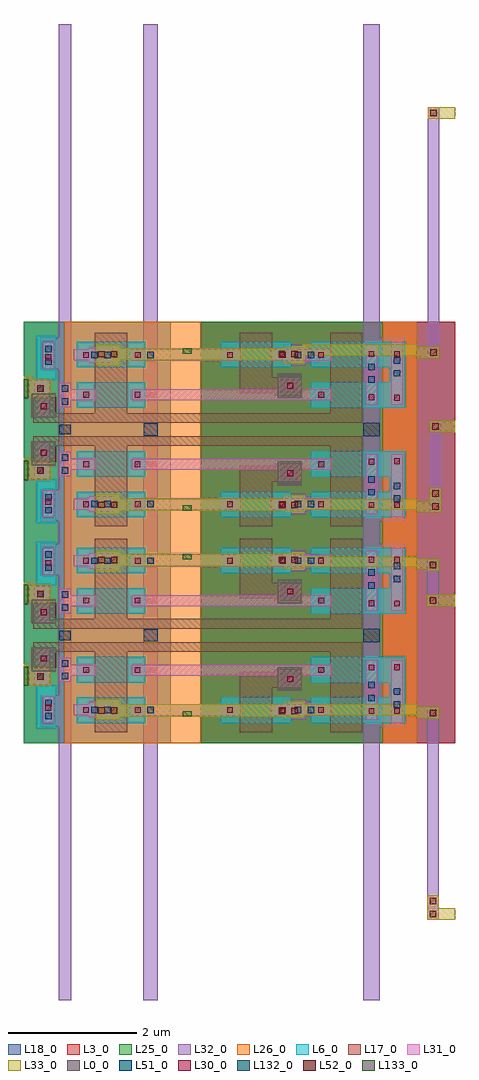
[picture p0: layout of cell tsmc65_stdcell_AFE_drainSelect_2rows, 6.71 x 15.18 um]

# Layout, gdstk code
from math import pi, radians
import gdstk
lib = gdstk.Library(unit=1e-6, precision=1e-09)
def R(c, l, rs):  # rectangles x0, y0, x1, y1
    for r in rs: c.add(gdstk.rectangle(r[:2], r[2:], *l))
L0_0 = (0, 0)
L3_0 = (3, 0)
L6_0 = (6, 0)
L17_0 = (17, 0)
L18_0 = (18, 0)
L25_0 = (25, 0)
L26_0 = (26, 0)
L30_0 = (30, 0)
L31_0 = (31, 0)
L32_0 = (32, 0)
L33_0 = (33, 0)
L51_0 = (51, 0)
L52_0 = (52, 0)
L132_0 = (132, 0)
L133_0 = (133, 0)

m1_od_cdns_668227563182 = lib.new_cell('M1_OD_CDNS_668227563182')
R(m1_od_cdns_668227563182, L6_0, [(-0.075,-0.075,0.075,0.075)])
R(m1_od_cdns_668227563182, L30_0, [(-0.045,-0.045,0.045,0.045)])
R(m1_od_cdns_668227563182, L31_0, [(-0.085,-0.085,0.085,0.085)])

m1_po_cdns_668227563183 = lib.new_cell('M1_PO_CDNS_668227563183')
R(m1_po_cdns_668227563183, L17_0, [(-0.085,-0.085,0.085,0.085)])
R(m1_po_cdns_668227563183, L30_0, [(-0.045,-0.045,0.045,0.045)])
R(m1_po_cdns_668227563183, L31_0, [(-0.085,-0.085,0.085,0.085)])

m2_m1_cdns_668227563184 = lib.new_cell('M2_M1_CDNS_668227563184')
R(m2_m1_cdns_668227563184, L31_0, [(-0.09,-0.19,0.09,0.19)])
R(m2_m1_cdns_668227563184, L32_0, [(-0.09,-0.19,0.09,0.19)])
R(m2_m1_cdns_668227563184, L51_0, [(-0.05,-0.15,0.05,-0.05), (-0.05,0.05,0.05,0.15)])

m2_m1_cdns_668227563185 = lib.new_cell('M2_M1_CDNS_668227563185')
R(m2_m1_cdns_668227563185, L31_0, [(-0.19,-0.09,0.19,0.09)])
R(m2_m1_cdns_668227563185, L32_0, [(-0.19,-0.09,0.19,0.09)])
R(m2_m1_cdns_668227563185, L51_0, [(-0.15,-0.05,-0.05,0.05), (0.05,-0.05,0.15,0.05)])

m2_m1_cdns_668227563186 = lib.new_cell('M2_M1_CDNS_668227563186')
R(m2_m1_cdns_668227563186, L31_0, [(-0.09,-0.09,0.09,0.09)])
R(m2_m1_cdns_668227563186, L32_0, [(-0.09,-0.09,0.09,0.09)])
R(m2_m1_cdns_668227563186, L51_0, [(-0.05,-0.05,0.05,0.05)])

m3_m2_cdns_668227563180 = lib.new_cell('M3_M2_CDNS_668227563180')
R(m3_m2_cdns_668227563180, L32_0, [(-0.09,-0.09,0.09,0.09)])
R(m3_m2_cdns_668227563180, L33_0, [(-0.09,-0.09,0.09,0.09)])
R(m3_m2_cdns_668227563180, L52_0, [(-0.05,-0.05,0.05,0.05)])

m3_m2_cdns_668227563187 = lib.new_cell('M3_M2_CDNS_668227563187')
R(m3_m2_cdns_668227563187, L32_0, [(-0.19,-0.09,0.19,0.09)])
R(m3_m2_cdns_668227563187, L33_0, [(-0.19,-0.09,0.19,0.09)])
R(m3_m2_cdns_668227563187, L52_0, [(-0.15,-0.05,-0.05,0.05), (0.05,-0.05,0.15,0.05)])

sky130_hilas_tgatevinj01 = lib.new_cell('sky130_hilas_TgateVinj01d3')
R(sky130_hilas_tgatevinj01, L0_0, [(1.79,0.81,2.16,1.18), (5.615,1.12,5.985,1.49)])
R(sky130_hilas_tgatevinj01, L3_0, [(0,0,3.36,1.72)])
R(sky130_hilas_tgatevinj01, L6_0, [(5.605,0.22,5.915,0.9), (0.18,0.31,0.55,0.71), (0.55,0.31,1.65,0.71), (1.95,0.31,3.05,0.71), (4.225,0.31,5.285,0.71), (0.18,0.68,0.425,0.98), (0.18,0.94,0.55,1.34), (0.55,0.94,1.65,1.34), (4.225,0.94,5.285,1.34)])
R(sky130_hilas_tgatevinj01, L17_0, [(0.85,0.17,1.35,1.42), (2.25,0.17,2.75,0.86), (4.505,0.17,5.005,1.42), (1.81,0.86,2.75,1.1), (1.81,1.1,2.21,1.14), (5.605,1.17,5.965,1.42), (0.85,1.42,5.965,1.57)])
R(sky130_hilas_tgatevinj01, L18_0, [(0,0,3.36,1.72), (3.83,0,6.115,1.72)])
R(sky130_hilas_tgatevinj01, L25_0, [(0.53,0,3.36,0.795), (5.48,0,6.115,1.72), (0.53,0.795,3.36,1.015), (0.53,1.015,3.36,1.72)])
R(sky130_hilas_tgatevinj01, L26_0, [(0,0,0.53,1.72), (3.36,0,5.48,1.72)])
R(sky130_hilas_tgatevinj01, L31_0, [(0.22,0.31,0.4,1.29), (5.64,0.31,5.82,0.73), (0.615,0.36,0.795,1.29), (4.72,0.4,4.765,0.425), (4.765,0.4,5.1,0.43), (1.32,0.425,2.28,0.605), (2.73,0.425,4.45,0.605), (4.765,0.43,5.335,0.6), (4.765,0.6,5.1,0.64), (4.72,0.605,4.765,0.64), (1.8,0.87,2.14,1.05), (5.715,0.91,5.885,0.95), (5.885,0.91,5.945,0.945), (5.715,0.95,5.945,1.12), (1.32,1.05,4.28,1.22), (4.985,1.05,5.56,1.22), (5.715,1.12,5.885,1.47)])
R(sky130_hilas_tgatevinj01, L32_0, [(0.58,0,0.83,0.25), (4.025,0,4.255,1.72), (5.375,0,5.565,0.25), (0.18,0.25,0.19,0.32), (0.19,0.25,0.83,0.32), (5.375,0.25,5.845,0.74), (0.18,0.32,0.83,0.68), (1.73,0.36,2.07,0.41), (4.615,0.37,4.985,0.39), (4.985,0.37,5.035,0.39), (5.035,0.37,5.1,0.425), (4.615,0.39,5.035,0.65), (1.51,0.41,2.07,0.43), (1.51,0.43,2.19,0.6), (1.51,0.6,2.07,0.64), (5.035,0.605,5.1,0.66), (1.73,0.64,2.07,0.68), (4.615,0.65,4.985,0.66), (4.985,0.65,5.035,0.66), (0.18,0.68,0.19,1.32), (0.19,0.68,0.83,1.32), (5.375,0.74,5.565,1.72), (5.705,0.9,6.025,1.18), (0.58,1.32,0.83,1.72)])
R(sky130_hilas_tgatevinj01, L33_0, [(4.615,0.36,4.935,0.41), (4.935,0.36,4.995,0.415), (1.75,0.39,2.07,0.41), (1.75,0.41,4.935,0.6), (4.935,0.595,4.995,0.68), (1.75,0.6,2.07,0.65), (4.615,0.6,4.935,0.68), (5.695,0.89,6.115,1.12), (5.695,1.12,6.035,1.19), (6.035,1.12,6.115,1.19)])
R(sky130_hilas_tgatevinj01, L132_0, [(0.58,1.57,0.83,1.72), (4.03,1.58,4.25,1.71), (5.38,1.6,5.56,1.72)])
R(sky130_hilas_tgatevinj01, L133_0, [(3.5,0.415,3.64,0.495), (6.04,0.89,6.11,1.19)])
sky130_hilas_tgatevinj01.add(gdstk.Reference(m1_od_cdns_668227563182, (0.705,1.175)))
sky130_hilas_tgatevinj01.add(gdstk.Reference(m1_od_cdns_668227563182, (0.31,1.18)))
sky130_hilas_tgatevinj01.add(gdstk.Reference(m1_od_cdns_668227563182, (0.705,0.5)))
sky130_hilas_tgatevinj01.add(gdstk.Reference(m1_od_cdns_668227563182, (0.31,0.5)))
sky130_hilas_tgatevinj01.add(gdstk.Reference(m1_od_cdns_668227563182, (1.49,0.515)))
sky130_hilas_tgatevinj01.add(gdstk.Reference(m1_od_cdns_668227563182, (1.485,1.135)))
sky130_hilas_tgatevinj01.add(gdstk.Reference(m1_od_cdns_668227563182, (2.085,0.515)))
sky130_hilas_tgatevinj01.add(gdstk.Reference(m1_od_cdns_668227563182, (2.905,0.515)))
sky130_hilas_tgatevinj01.add(gdstk.Reference(m1_od_cdns_668227563182, (4.345,1.135)))
sky130_hilas_tgatevinj01.add(gdstk.Reference(m1_od_cdns_668227563182, (4.34,0.515)))
sky130_hilas_tgatevinj01.add(gdstk.Reference(m1_od_cdns_668227563182, (5.14,1.135)))
sky130_hilas_tgatevinj01.add(gdstk.Reference(m1_od_cdns_668227563182, (5.145,0.515)))
sky130_hilas_tgatevinj01.add(gdstk.Reference(m1_od_cdns_668227563182, (5.73,0.55)))
sky130_hilas_tgatevinj01.add(gdstk.Reference(m1_po_cdns_668227563183, (1.97,0.995)))
sky130_hilas_tgatevinj01.add(gdstk.Reference(m1_po_cdns_668227563183, (5.8,1.315)))
sky130_hilas_tgatevinj01.add(gdstk.Reference(m2_m1_cdns_668227563184, (5.47,1.14)))
sky130_hilas_tgatevinj01.add(gdstk.Reference(m2_m1_cdns_668227563184, (0.31,0.7)))
sky130_hilas_tgatevinj01.add(gdstk.Reference(m2_m1_cdns_668227563184, (0.705,0.8)))
sky130_hilas_tgatevinj01.add(gdstk.Reference(m2_m1_cdns_668227563184, (5.73,0.52)))
sky130_hilas_tgatevinj01.add(gdstk.Reference(m2_m1_cdns_668227563185, (1.745,0.515)))
sky130_hilas_tgatevinj01.add(gdstk.Reference(m2_m1_cdns_668227563185, (4.91,0.515)))
sky130_hilas_tgatevinj01.add(gdstk.Reference(m2_m1_cdns_668227563186, (4.14,0.515)))
sky130_hilas_tgatevinj01.add(gdstk.Reference(m2_m1_cdns_668227563186, (5.855,1.035)))
sky130_hilas_tgatevinj01.add(gdstk.Reference(m3_m2_cdns_668227563180, (5.85,1.035)))
sky130_hilas_tgatevinj01.add(gdstk.Reference(m3_m2_cdns_668227563187, (2,0.5)))
sky130_hilas_tgatevinj01.add(gdstk.Reference(m3_m2_cdns_668227563187, (4.805,0.505)))
sky130_hilas_tgatevinj01.add(gdstk.Label('drain', (3.57,0.425), layer=133, texttype=0))
sky130_hilas_tgatevinj01.add(gdstk.Label('select', (6.075,1.04), layer=133, texttype=0))
sky130_hilas_tgatevinj01.add(gdstk.Label('Vinj', (0.71,1.66), layer=132, texttype=0))
sky130_hilas_tgatevinj01.add(gdstk.Label('gnd', (5.47,1.66), layer=132, texttype=0))
sky130_hilas_tgatevinj01.add(gdstk.Label('drainRail', (4.14,1.64), layer=132, texttype=0))

sky130_hilas_drainselect = lib.new_cell('sky130_hilas_drainSelect01d3')
R(sky130_hilas_drainselect, L32_0, [(0.58,6.41,0.83,6.59), (4.025,6.43,4.255,6.59)])
R(sky130_hilas_drainselect, L33_0, [(0,0.43,0.13,0.6), (0,0.43,1.78,0.6), (6.03,0.93,6.11,1.23), (5.955,2.2,6.11,2.5), (0,2.74,0.12,2.9), (0,2.74,2,2.9), (0,3.63,0.13,3.79), (0,3.63,1.78,3.79), (5.95,4.13,6.11,4.43), (5.98,5.47,6.11,5.7), (0,6.02,0.13,6.2), (0,6.02,1.78,6.2)])
sky130_hilas_drainselect.add(gdstk.Reference(sky130_hilas_tgatevinj01, (0,6.55), x_reflection=True))
sky130_hilas_drainselect.add(gdstk.Reference(sky130_hilas_tgatevinj01, (0,3.2)))
sky130_hilas_drainselect.add(gdstk.Reference(sky130_hilas_tgatevinj01, (0,0)))
sky130_hilas_drainselect.add(gdstk.Reference(sky130_hilas_tgatevinj01, (0,3.35), x_reflection=True))
sky130_hilas_drainselect.add(gdstk.Label('drain3', (0.245,2.87), layer=33, texttype=0))
sky130_hilas_drainselect.add(gdstk.Label('Select4', (6.07,1.03), layer=33, texttype=0))
sky130_hilas_drainselect.add(gdstk.Label('Select3', (6.07,2.305), layer=33, texttype=0))
sky130_hilas_drainselect.add(gdstk.Label('drain2', (0.245,3.715), layer=33, texttype=0))
sky130_hilas_drainselect.add(gdstk.Label('drain1', (0.235,6.135), layer=33, texttype=0))
sky130_hilas_drainselect.add(gdstk.Label('Select1', (6.07,5.51), layer=33, texttype=0))
sky130_hilas_drainselect.add(gdstk.Label('Select2', (6.075,4.245), layer=33, texttype=0))
sky130_hilas_drainselect.add(gdstk.Label('drain4', (0.28,0.515), layer=33, texttype=0))
sky130_hilas_drainselect.add(gdstk.Label('Vinj', (0.695,6.645), layer=32, texttype=0))
sky130_hilas_drainselect.add(gdstk.Label('drainRail', (4.12,6.705), layer=32, texttype=0))

m3_m2_cdns_668227563181 = lib.new_cell('M3_M2_CDNS_668227563181')
R(m3_m2_cdns_668227563181, L32_0, [(-0.09,-0.19,0.09,0.19)])
R(m3_m2_cdns_668227563181, L33_0, [(-0.09,-0.19,0.09,0.19)])
R(m3_m2_cdns_668227563181, L52_0, [(-0.05,-0.15,0.05,-0.05), (-0.05,0.05,0.05,0.15)])

tsmc65_stdcell_afe_drain = lib.new_cell('tsmc65_stdcell_AFE_drainSelect_2rows')
R(tsmc65_stdcell_afe_drain, L3_0, [(6.115,3.995,6.715,10.545)])
R(tsmc65_stdcell_afe_drain, L18_0, [(6.115,3.995,6.715,10.545)])
R(tsmc65_stdcell_afe_drain, L32_0, [(0.55,0,0.74,3.995), (1.86,0,2.09,3.995), (5.285,0,5.535,3.995), (6.275,1.25,6.455,4.555), (6.275,6.12,6.455,6.855), (6.315,7.585,6.495,9.01), (6.285,9.975,6.465,13.88), (0.55,10.545,0.74,15.175), (1.86,10.545,2.09,15.175), (5.285,10.545,5.535,15.175)])
R(tsmc65_stdcell_afe_drain, L33_0, [(6.455,1.25,6.715,1.43), (6.115,4.385,6.455,4.555), (6.275,6.12,6.715,6.3), (6.115,6.695,6.455,6.855), (6.115,7.585,6.485,7.745), (6.315,8.83,6.715,9.01), (6.115,9.975,6.465,10.155), (6.285,13.7,6.715,13.88)])
tsmc65_stdcell_afe_drain.add(gdstk.Reference(sky130_hilas_drainselect, (6.115,3.995), rotation=pi, x_reflection=True))
tsmc65_stdcell_afe_drain.add(gdstk.Reference(m3_m2_cdns_668227563180, (6.365,6.765)))
tsmc65_stdcell_afe_drain.add(gdstk.Reference(m3_m2_cdns_668227563180, (6.365,6.21)))
tsmc65_stdcell_afe_drain.add(gdstk.Reference(m3_m2_cdns_668227563180, (6.365,4.465)))
tsmc65_stdcell_afe_drain.add(gdstk.Reference(m3_m2_cdns_668227563180, (6.405,8.92)))
tsmc65_stdcell_afe_drain.add(gdstk.Reference(m3_m2_cdns_668227563180, (6.375,13.79)))
tsmc65_stdcell_afe_drain.add(gdstk.Reference(m3_m2_cdns_668227563180, (6.375,10.065)))
tsmc65_stdcell_afe_drain.add(gdstk.Reference(m3_m2_cdns_668227563181, (6.365,1.44)))
tsmc65_stdcell_afe_drain.add(gdstk.Reference(m3_m2_cdns_668227563181, (6.405,7.775)))

lib.write_gds('tsmc65_stdcell_AFE_drainSelect_2rows.gds')
